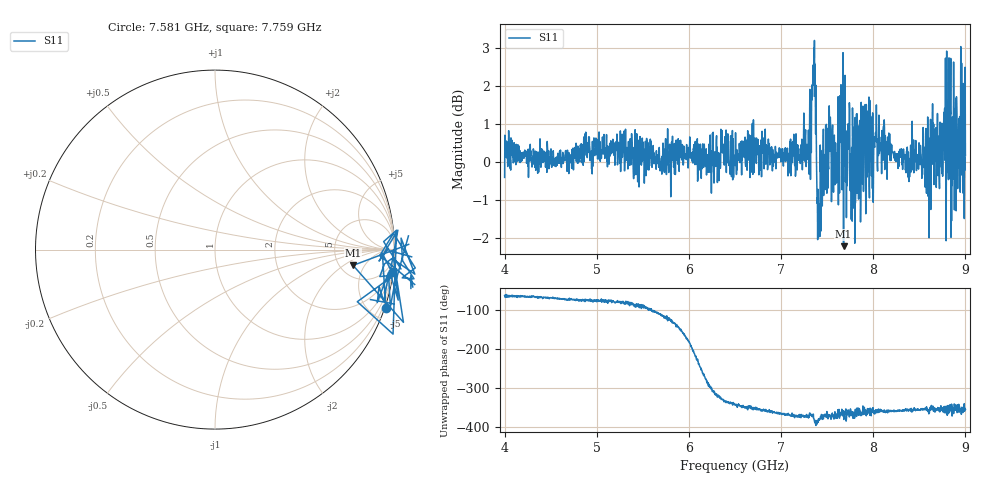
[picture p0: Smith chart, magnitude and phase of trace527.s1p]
! Created with skrf 1.8.0 (http://scikit-rf.org).
# Hz S RI R 50.0
!freq ReS11 ImS11
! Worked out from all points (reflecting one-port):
!   1601 points, 4 GHz to 9 GHz, reference 50 ohm
!   lowest |S11| = -2.2 dB at 7.678 GHz (marker M1), VSWR 7.86, Z = 328 - j144 ohm
!   phase of S11 starts at -62 deg and turns -294 deg over the sweep
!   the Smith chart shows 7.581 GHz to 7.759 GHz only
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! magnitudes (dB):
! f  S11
! 4 GHz  -0.4
! 4.028 GHz  0.1
! 4.625 GHz  0.0
! 5.25 GHz  0.0
! 5.875 GHz  0.4
! 6.5 GHz  0.2
! 7.125 GHz  0.2
! 7.294 GHz  0.2
! 7.356 GHz  3.0
! 7.397 GHz  -2.0
! 7.412 GHz  -2.0
! 7.509 GHz  -0.7
! 7.591 GHz  0.5
! 7.65 GHz  2.0
! 7.678 GHz  -2.2
! 7.75 GHz  -0.8
! 7.775 GHz  1.4
! 7.828 GHz  0.5
! 7.928 GHz  0.7
! 8.375 GHz  -0.4
! 8.522 GHz  0.1
! 8.588 GHz  -0.5
! 8.656 GHz  1.0
! 8.728 GHz  0.1
! 8.819 GHz  0.1
! 8.869 GHz  -0.4
! 8.959 GHz  2.6
! 9 GHz  0.2
